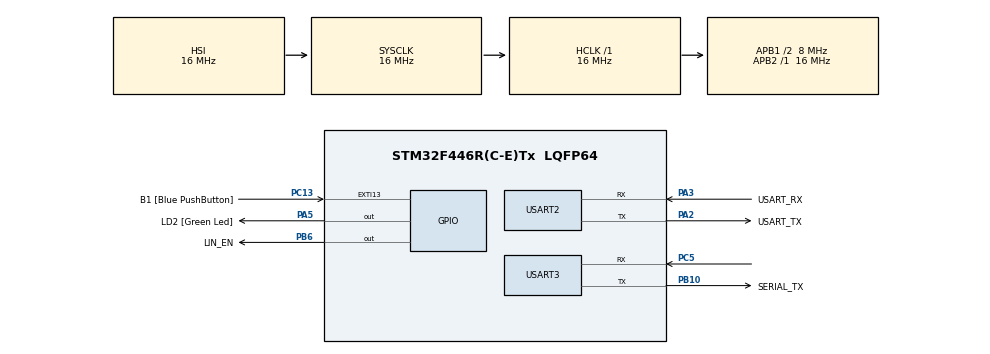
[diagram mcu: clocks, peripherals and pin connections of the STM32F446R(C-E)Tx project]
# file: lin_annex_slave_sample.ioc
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Mcu.Family=STM32F4
Mcu.Name=STM32F446R(C-E)Tx
Mcu.Package=LQFP64
NVIC.PriorityGroup=NVIC_PRIORITYGROUP_0
PA13.GPIO_Label=TMS
PA13.Signal=SYS_JTMS-SWDIO
PA14.GPIO_Label=TCK
PA14.Signal=SYS_JTCK-SWCLK
PA2.GPIO_Label=USART_TX
PA2.Mode=LIN
PA2.Signal=USART2_TX
PA3.GPIO_Label=USART_RX
PA3.Mode=LIN
PA3.Signal=USART2_RX
PA5.GPIO_Label=LD2 [Green Led]
PA5.Signal=GPIO_Output
PB10.GPIO_Label=SERIAL_TX
PB10.Mode=Asynchronous
PB10.Signal=USART3_TX
PB3.GPIO_Label=SWO
PB3.Signal=SYS_JTDO-SWO
PB6.GPIO_Label=LIN_EN
PB6.Signal=GPIO_Output
PC13.GPIO_Label=B1 [Blue PushButton]
PC13.GPIO_ModeDefaultEXTI=GPIO_MODE_IT_FALLING
PC13.Signal=GPXTI13
PC14-OSC32_IN.Signal=RCC_OSC32_IN
PC15-OSC32_OUT.Signal=RCC_OSC32_OUT
PC5.Mode=Asynchronous
PC5.Signal=USART3_RX
PH0-OSC_IN.Signal=RCC_OSC_IN
PH1-OSC_OUT.Signal=RCC_OSC_OUT
ProjectManager.HeapSize=0x200
ProjectManager.StackSize=0x400
ProjectManager.TargetToolchain=STM32CubeIDE
RCC.AHBFreq_Value=16000000
RCC.APB1CLKDivider=RCC_HCLK_DIV2
RCC.APB1Freq_Value=8000000
RCC.APB1TimFreq_Value=16000000
RCC.APB2Freq_Value=16000000
RCC.APB2TimFreq_Value=16000000
RCC.CortexFreq_Value=16000000
RCC.FLatency-AdvancedSettings=FLASH_LATENCY_0
RCC.HCLKFreq_Value=16000000
RCC.HSE_VALUE=8000000
RCC.HSI_VALUE=16000000
RCC.LSE_VALUE=32768
RCC.PLLN=336
RCC.PLLP=RCC_PLLP_DIV4
RCC.SYSCLKFreq_VALUE=16000000
RCC.USBFreq_Value=168000000
RCC.VCOOutputFreq_Value=336000000
USART2.VirtualMode=VM_ASYNC
USART3.VirtualMode=VM_ASYNC
board=NUCLEO-F446RE

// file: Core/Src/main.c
/* USER CODE BEGIN Header */
/**
  ******************************************************************************
  * @file           : main.c
  * @brief          : Main program body
  ******************************************************************************
  * @attention
  *
  * Copyright (c) 2026 STMicroelectronics.
  * All rights reserved.
  *
  * This software is licensed under terms that can be found in the LICENSE file
  * in the root directory of this software component.
  * If no LICENSE file comes with this software, it is provided AS-IS.
  *
  ******************************************************************************
  DEBUG PRINTS: PB10 (TX) -> RX (USB to UART)
  Arduino Header Pin: D6
  Baudrate: 115200
  */
/* USER CODE END Header */
#include "main.h"

/* USER CODE BEGIN Includes */
#include "lin_annex.h"
#include "annex_hal_uart.h"
#include "annex_stm32_uart_printf.h"
/* USER CODE END Includes */

/* USER CODE BEGIN PD */
// Message ID used by the master example

/* USER CODE END PD */

/* USER CODE BEGIN PM */

#define RX_LENGTH 8

/* USER CODE END PM */

UART_HandleTypeDef huart2;
UART_HandleTypeDef huart3;

void SystemClock_Config(void);
static void MX_GPIO_Init(void);
static void MX_USART2_UART_Init(void);
static void MX_USART3_UART_Init(void);

/* USER CODE BEGIN 0 */
static annex_lin_dev_t *lin_handle;
static annex_hal_uart_dev_t *uart2;

static uint8_t rx_data[RX_LENGTH] = {0};
uint8_t id = 0;
uint32_t flags = 0;
/* USER CODE END 0 */

int main(void)
{

  /* MCU Configuration--------------------------------------------------------*/

  /* Reset of all peripherals, Initializes the Flash interface and the Systick. */
  HAL_Init();

  /* Configure the system clock */
  SystemClock_Config();

  /* Initialize all configured peripherals */
  MX_GPIO_Init();
  MX_USART2_UART_Init();
  MX_USART3_UART_Init();
  /* USER CODE BEGIN 2 */

  annex_log_init(&huart3);

  annex_hal_uart_hw_desc_t uart_hw = {
      .base_addr    = (uintptr_t)USART2,
      .input_clk_hz = 16000000UL,
  };

  uart2 = annex_hal_uart_open(&uart_hw);

  annex_lin_hw_desc_t lin_hw = {
      .uart_handle = uart2
  };

  annex_lin_config_t cfg = {
      .lin_baudrate = 10000U,
      .break_width = 11U,
      .flags = 0, //LIN_SLAVE
  };

  lin_handle = annex_lin_open(&lin_hw);

  if(annex_lin_config(lin_handle, &cfg) != LIN_OK)
     return -1;

  HAL_GPIO_WritePin(LIN_EN_GPIO_Port, LIN_EN_Pin, GPIO_PIN_SET);

  if(annex_lin_start(lin_handle) != LIN_OK)
      return -1;

  printf("LIN Slave Started\r\n");
  if(annex_lin_read_message_wait(lin_handle, &id, rx_data, RX_LENGTH, &flags, 0xFFFFFF) == LIN_OK) {
	printf("Rx 0x%x {", id);
    for (uint8_t i = 0; i < RX_LENGTH; i++) {
      printf(" 0x%x",rx_data[i]);
    }
    printf(" }");
  }
  printf(" flags: 0x%lx br: %lu\r\n", flags, cfg.lin_baudrate);

  /* USER CODE END 2 */

  /* Infinite loop */
  while (1)
  {

  }
}

void SystemClock_Config(void)
{
  RCC_OscInitTypeDef RCC_OscInitStruct = {0};
  RCC_ClkInitTypeDef RCC_ClkInitStruct = {0};

  /** Configure the main internal regulator output voltage
  */
  __HAL_RCC_PWR_CLK_ENABLE();
  __HAL_PWR_VOLTAGESCALING_CONFIG(PWR_REGULATOR_VOLTAGE_SCALE3);

  /** Initializes the RCC Oscillators according to the specified parameters
  * in the RCC_OscInitTypeDef structure.
  */
  RCC_OscInitStruct.OscillatorType = RCC_OSCILLATORTYPE_HSI;
  RCC_OscInitStruct.HSIState = RCC_HSI_ON;
  RCC_OscInitStruct.HSICalibrationValue = RCC_HSICALIBRATION_DEFAULT;
  RCC_OscInitStruct.PLL.PLLState = RCC_PLL_NONE;
  if (HAL_RCC_OscConfig(&RCC_OscInitStruct) != HAL_OK)
  {
    Error_Handler();
  }

  /** Initializes the CPU, AHB and APB buses clocks
  */
  RCC_ClkInitStruct.ClockType = RCC_CLOCKTYPE_HCLK|RCC_CLOCKTYPE_SYSCLK
                              |RCC_CLOCKTYPE_PCLK1|RCC_CLOCKTYPE_PCLK2;
  RCC_ClkInitStruct.SYSCLKSource = RCC_SYSCLKSOURCE_HSI;
  RCC_ClkInitStruct.AHBCLKDivider = RCC_SYSCLK_DIV1;
  RCC_ClkInitStruct.APB1CLKDivider = RCC_HCLK_DIV2;
  RCC_ClkInitStruct.APB2CLKDivider = RCC_HCLK_DIV1;

  if (HAL_RCC_ClockConfig(&RCC_ClkInitStruct, FLASH_LATENCY_0) != HAL_OK)
  {
    Error_Handler();
  }
}

static void MX_USART2_UART_Init(void)
{

  huart2.Instance = USART2;
  huart2.Init.BaudRate = 115200;
  huart2.Init.WordLength = UART_WORDLENGTH_8B;
  huart2.Init.StopBits = UART_STOPBITS_1;
  huart2.Init.Parity = UART_PARITY_NONE;
  huart2.Init.Mode = UART_MODE_TX_RX;
  huart2.Init.HwFlowCtl = UART_HWCONTROL_NONE;
  huart2.Init.OverSampling = UART_OVERSAMPLING_16;
  if (HAL_LIN_Init(&huart2, UART_LINBREAKDETECTLENGTH_10B) != HAL_OK)
  {
    Error_Handler();
  }

}

static void MX_USART3_UART_Init(void)
{

  huart3.Instance = USART3;
  huart3.Init.BaudRate = 115200;
  huart3.Init.WordLength = UART_WORDLENGTH_8B;
  huart3.Init.StopBits = UART_STOPBITS_1;
  huart3.Init.Parity = UART_PARITY_NONE;
  huart3.Init.Mode = UART_MODE_TX_RX;
  huart3.Init.HwFlowCtl = UART_HWCONTROL_NONE;
  huart3.Init.OverSampling = UART_OVERSAMPLING_16;
  if (HAL_UART_Init(&huart3) != HAL_OK)
  {
    Error_Handler();
  }

}

static void MX_GPIO_Init(void)
{
  GPIO_InitTypeDef GPIO_InitStruct = {0};

  /* GPIO Ports Clock Enable */
  __HAL_RCC_GPIOC_CLK_ENABLE();
  __HAL_RCC_GPIOH_CLK_ENABLE();
  __HAL_RCC_GPIOA_CLK_ENABLE();
  __HAL_RCC_GPIOB_CLK_ENABLE();

  /*Configure GPIO pin Output Level */
  HAL_GPIO_WritePin(LD2_GPIO_Port, LD2_Pin, GPIO_PIN_RESET);

  /*Configure GPIO pin Output Level */
  HAL_GPIO_WritePin(LIN_EN_GPIO_Port, LIN_EN_Pin, GPIO_PIN_RESET);

  /*Configure GPIO pin : B1_Pin */
  GPIO_InitStruct.Pin = B1_Pin;
  GPIO_InitStruct.Mode = GPIO_MODE_IT_FALLING;
  GPIO_InitStruct.Pull = GPIO_NOPULL;
  HAL_GPIO_Init(B1_GPIO_Port, &GPIO_InitStruct);

  /*Configure GPIO pin : LD2_Pin */
  GPIO_InitStruct.Pin = LD2_Pin;
  GPIO_InitStruct.Mode = GPIO_MODE_OUTPUT_PP;
  GPIO_InitStruct.Pull = GPIO_NOPULL;
  GPIO_InitStruct.Speed = GPIO_SPEED_FREQ_LOW;
  HAL_GPIO_Init(LD2_GPIO_Port, &GPIO_InitStruct);

  /*Configure GPIO pin : LIN_EN_Pin */
  GPIO_InitStruct.Pin = LIN_EN_Pin;
  GPIO_InitStruct.Mode = GPIO_MODE_OUTPUT_PP;
  GPIO_InitStruct.Pull = GPIO_NOPULL;
  GPIO_InitStruct.Speed = GPIO_SPEED_FREQ_LOW;
  HAL_GPIO_Init(LIN_EN_GPIO_Port, &GPIO_InitStruct);

}

void Error_Handler(void)
{
  __disable_irq();
  while (1)
  {
  }
}
